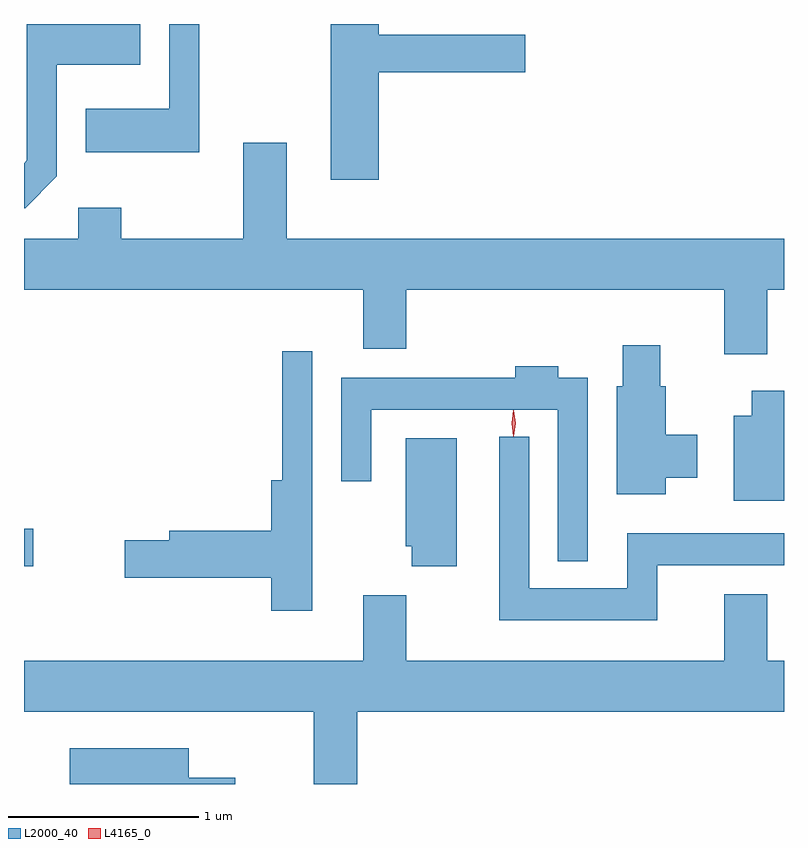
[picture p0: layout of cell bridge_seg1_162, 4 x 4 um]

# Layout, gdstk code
import gdstk
lib = gdstk.Library(unit=1e-6, precision=1e-09)
def R(c, l, rs):  # rectangles x0, y0, x1, y1
    for r in rs: c.add(gdstk.rectangle(r[:2], r[2:], *l))
def P(c, l, *ps):  # polygons
    for p in ps: c.add(gdstk.Polygon(p, *l))
L2000_40 = (2000, 40)
L4165_0 = (4165, 0)

bridge_seg1_162 = lib.new_cell('bridge_seg1_162')
R(bridge_seg1_162, L2000_40, [(780.096,946.961,780.144,947.159)])
P(bridge_seg1_162, L2000_40, [(780.269,949.014),(780.269,949.601),(780.709,949.601),(780.709,949.815),(780.111,949.815),(780.111,949.097),(780.096,949.082),(780.096,948.846),(780.102,948.846)],
  [(781.964,949.561),(782.734,949.561),(782.734,949.759),(781.964,949.759),(781.964,949.815),(781.711,949.815),(781.711,948.996),(781.964,948.996)],
  [(781.019,949.815),(780.861,949.815),(780.861,949.369),(780.421,949.369),(780.421,949.141),(781.019,949.141)],
  [(784.009,948.416),(784.096,948.416),(784.096,948.684),(781.479,948.684),(781.479,949.189),(781.251,949.189),(781.251,948.684),(780.609,948.684),(780.609,948.849),(780.381,948.849),(780.381,948.684),(780.096,948.684),(780.096,948.416),(781.881,948.416),(781.881,948.106),(782.109,948.106),(782.109,948.416),(783.781,948.416),(783.781,948.076),(784.009,948.076)],
  [(783.474,947.426),(783.639,947.426),(783.639,947.654),(783.474,947.654),(783.474,947.909),(783.444,947.909),(783.444,948.124),(783.246,948.124),(783.246,947.909),(783.216,947.909),(783.216,947.341),(783.474,947.341)],
  [(781.614,948.093),(781.456,948.093),(781.456,947.414),(781.396,947.414),(781.396,947.149),(780.861,947.149),(780.861,947.099),(780.626,947.099),(780.626,946.901),(781.396,946.901),(781.396,946.726),(781.614,946.726)],
  [(783.064,947.954),(782.909,947.954),(782.909,948.014),(782.681,948.014),(782.681,947.954),(781.766,947.954),(781.766,947.408),(781.924,947.408),(781.924,947.786),(782.906,947.786),(782.906,946.988),(783.064,946.988)],
  [(784.096,947.884),(783.926,947.884),(783.926,947.754),(783.831,947.754),(783.831,947.306),(784.096,947.306)],
  [(783.429,946.966),(784.096,946.966),(784.096,947.134),(783.271,947.134),(783.271,946.844),(782.754,946.844),(782.754,947.643),(782.596,947.643),(782.596,946.676),(783.429,946.676)],
  [(782.374,947.634),(782.106,947.634),(782.106,947.066),(782.136,947.066),(782.136,946.961),(782.374,946.961)],
  [(781.849,946.196),(784.096,946.196),(784.096,946.464),(784.009,946.464),(784.009,946.814),(783.781,946.814),(783.781,946.464),(782.109,946.464),(782.109,946.809),(781.881,946.809),(781.881,946.464),(780.096,946.464),(780.096,946.196),(781.621,946.196),(781.621,945.815),(781.849,945.815)],
  [(781.209,945.849),(780.964,945.849),(780.964,946.004),(780.336,946.004),(780.336,945.815),(781.209,945.815)])
P(bridge_seg1_162, L4165_0, [(782.673,947.643),(782.672,947.644),(782.663,947.713),(782.672,947.782),(782.673,947.783),(782.673,947.782),(782.683,947.713),(782.673,947.644)],
  [(782.673,947.647),(782.673,947.647),(782.663,947.714),(782.672,947.78),(782.673,947.78),(782.673,947.78),(782.683,947.714),(782.674,947.647)])

lib.write_gds('bridge_seg1_162.gds')
